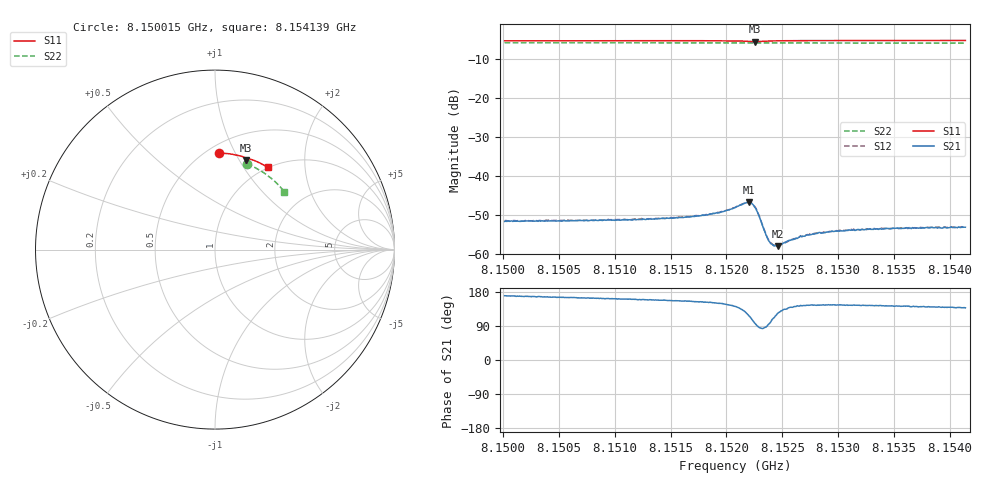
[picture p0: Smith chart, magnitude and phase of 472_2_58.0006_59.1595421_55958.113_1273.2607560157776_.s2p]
#  HZ  S  RI  R  50.00
! Rohde & Schwarz Vector Network Analyzer
! Rohde-Schwarz,ZNB20-2Port,1311601062101988,3.16
! Created: UTC 3/21/2024, 1:11:24 AM
! freq[Hz]  re:S11  im:S11  re:S21  im:S21  re:S12  im:S12  re:S22  im:S22
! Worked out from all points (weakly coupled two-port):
!   401 points, 8.150015 GHz to 8.154139 GHz, reference 50 ohm
!   highest |S21| = -46.78 dB at 8.152201 GHz (marker M1); lowest = -58.0 dB at 8.152458 GHz (marker M2)
!   lowest |S11| = -5.6 dB at 8.152252 GHz (marker M3), VSWR 3.22, Z = 38.7 + j53.2 ohm
!   |S11| at or under -10 dB: nowhere
!   |S22| runs from -6.0 to -5.9 dB; largest |S21 - S12| = 0.00012
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8.1500145e9  0.0246 0.5378  -0.00258 0.000473  -0.00262 0.000547  0.1776 0.4776
8.1507054e9  0.0729 0.5344  -0.00258 0.000737  -0.00258 0.000844  0.2181 0.4596
8.1513963e9  0.1208 0.5268  -0.00264 0.00108  -0.00264 0.00113  0.2566 0.4379
8.1517882e9  0.1484 0.5197  -0.00282 0.00139  -0.0028 0.00147  0.2776 0.4243
8.1519428e9  0.1598 0.5159  -0.00293 0.00172  -0.00296 0.00178  0.2858 0.4185
8.1520769e9  0.1702 0.5102  -0.00308 0.00246  -0.00306 0.00248  0.2926 0.4134
8.1521697e9  0.1756 0.5027  -0.00268 0.00362  -0.00265 0.00371  0.2971 0.4096
8.1522006e9  0.1754 0.4994  -0.0021 0.00407  -0.00209 0.00413  0.2985 0.4083
8.1522316e9  0.1733 0.4973  -0.00121 0.00423  -0.00115 0.00428  0.2998 0.407
8.1522522e9  0.1714 0.4971  -0.000538 0.00397  -0.000537 0.00407  0.3009 0.4064
8.1522831e9  0.1696 0.4992  9.79e-05 0.00332  0.000186 0.00335  0.3023 0.4054
8.152345e9  0.1721 0.5046  0.000135 0.00192  0.00015 0.00193  0.3053 0.4033
8.1523759e9  0.175 0.5061  -0.000107 0.0015  -5.62e-05 0.00153  0.307 0.402
8.1523965e9  0.177 0.5066  -0.000244 0.00134  -0.000237 0.00137  0.3081 0.4011
8.1524172e9  0.1789 0.5069  -0.000435 0.00123  -0.00042 0.00124  0.309 0.4006
8.1524584e9  0.1827 0.507  -0.000686 0.00106  -0.000679 0.00113  0.3112 0.3987
8.1526646e9  0.1993 0.5035  -0.00137 0.000989  -0.00135 0.00107  0.3213 0.3903
8.1527678e9  0.2065 0.501  -0.00148 0.00102  -0.00144 0.00104  0.3261 0.3861
8.1528193e9  0.2102 0.4997  -0.00151 0.00107  -0.00152 0.00109  0.3287 0.3839
8.1530256e9  0.224 0.4941  -0.00164 0.00113  -0.00163 0.00117  0.3382 0.375
8.1534587e9  0.2518 0.4815  -0.00168 0.00129  -0.00164 0.00129  0.3576 0.3556
8.1541392e9  0.2932 0.4588  -0.00163 0.00148  -0.00163 0.00151  0.3856 0.3232
